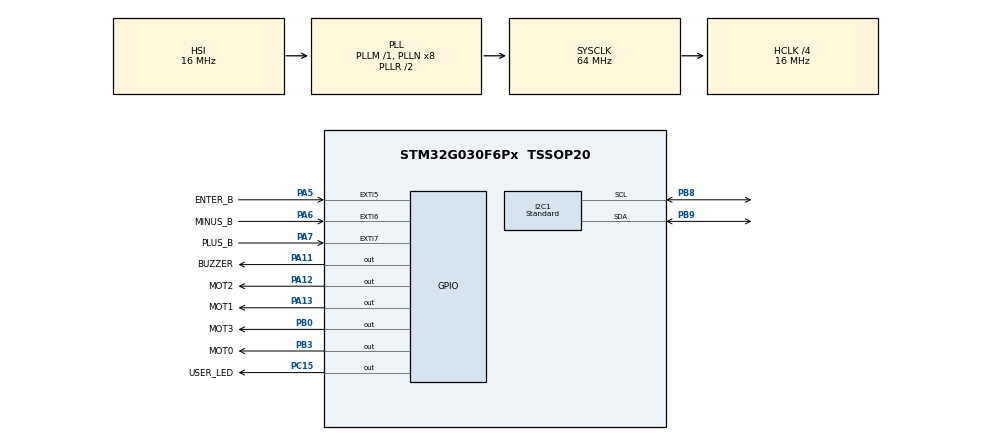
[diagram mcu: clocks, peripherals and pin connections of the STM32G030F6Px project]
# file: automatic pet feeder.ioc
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I2C1.I2C_Speed_Mode=I2C_Standard
Mcu.Family=STM32G0
Mcu.Name=STM32G030F6Px
Mcu.Package=TSSOP20
NVIC.EXTI4_15_IRQn=true\:0\:0\:false\:false\:true\:true\:true\:true
NVIC.TIM14_IRQn=true\:0\:0\:false\:false\:true\:true\:true\:true
PA11\ [PA9].GPIO_Label=BUZZER
PA11\ [PA9].Signal=GPIO_Output
PA12\ [PA10].GPIO_Label=MOT2
PA12\ [PA10].Signal=GPIO_Output
PA13.GPIO_Label=MOT1
PA13.Signal=GPIO_Output
PA14-BOOT0__PA15.StandardMode=true
PA5.GPIO_Label=ENTER_B
PA5.GPIO_ModeDefaultEXTI=GPIO_MODE_IT_RISING
PA5.GPIO_PuPd=GPIO_NOPULL
PA5.Signal=GPXTI5
PA6.GPIO_Label=MINUS_B
PA6.GPIO_ModeDefaultEXTI=GPIO_MODE_IT_RISING
PA6.GPIO_PuPd=GPIO_NOPULL
PA6.Signal=GPXTI6
PA7.GPIO_Label=PLUS_B
PA7.GPIO_ModeDefaultEXTI=GPIO_MODE_IT_RISING
PA7.GPIO_PuPd=GPIO_NOPULL
PA7.Signal=GPXTI7
PB0.GPIO_Label=MOT3
PB0.Signal=GPIO_Output
PB0__PB1__PB2__PA8.StandardMode=true
PB3.GPIO_Label=MOT0
PB3.Signal=GPIO_Output
PB3__PB4__PB5__PB6.StandardMode=true
PB7__PB8.StandardMode=true
PB8.Mode=I2C
PB8.Signal=I2C1_SCL
PB9.Mode=I2C
PB9.Signal=I2C1_SDA
PC14-OSC32_IN\ (PC14)__PB9.StandardMode=true
PC15-OSC32_OUT\ (PC15).GPIO_Label=USER_LED
PC15-OSC32_OUT\ (PC15).Signal=GPIO_Output
ProjectManager.HeapSize=0x200
ProjectManager.StackSize=0x400
ProjectManager.TargetToolchain=STM32CubeIDE
RCC.ADCFreq_Value=64000000
RCC.AHBCLKDivider=RCC_SYSCLK_DIV4
RCC.AHBFreq_Value=16000000
RCC.CortexFreq_Value=16000000
RCC.EXTERNAL_CLOCK_VALUE=12288000
RCC.HCLKFreq_Value=16000000
RCC.HSE_VALUE=8000000
RCC.HSI_VALUE=16000000
RCC.LSE_VALUE=32768
RCC.SYSCLKFreq_VALUE=64000000
RCC.SYSCLKSource=RCC_SYSCLKSOURCE_PLLCLK
RCC.VCOOutputFreq_Value=128000000
TIM14.Period=5000-1
TIM14.Prescaler=1600-1
VP_TIM14_VS_ClockSourceINT.Mode=Enable_Timer
board=custom

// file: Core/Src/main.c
/* USER CODE BEGIN Header */
/**
 ******************************************************************************
 * @file           : main.c
 * @brief          : Main program body
 ******************************************************************************
 * @attention
 *
 * Copyright (c) 2022 STMicroelectronics.
 * All rights reserved.
 *
 * This software is licensed under terms that can be found in the LICENSE file
 * in the root directory of this software component.
 * If no LICENSE file comes with this software, it is provided AS-IS.
 *
 ******************************************************************************
 */
/* USER CODE END Header */
#include "main.h"

/* USER CODE BEGIN Includes */
#include "ssd1306.h"
#include "bitmap.h"
#include "DS3231lib.h"
#include "EEPROM.h"
#include "storeSettings.h"
#include "motor.h"
/* USER CODE END Includes */

/* USER CODE BEGIN PTD */
#define TIME_STBY 10		//tempo in s per lo standby dello schermo (riduce lumnosità)
#define CONTRAST_STBY 5	//contrasto quando lo schermo va in standby
/* USER CODE END PTD */

I2C_HandleTypeDef hi2c1;

TIM_HandleTypeDef htim14;

/* USER CODE BEGIN PV */
//variabili per controllo tempo senza delay
uint32_t buzT;			//tempo buzzer in millisecondi
uint32_t contrastT;	//tempo contrasto per riduzione della luminosità dopo tot tempo senza premere qualche pulsanto
//variabili generali
uint8_t buz = 0;		//attiva disattiva buzzer
uint8_t feed = 0;//flag che segna se è da dare una porzione o meno: 0 no, altrimenti numero porzioni da dare
uint8_t status = 1;		//attiva o disattiva il dispositivo
uint8_t color = 1;		//colore per lampeggio per selezione
//variabili menu
uint8_t menu = 0;		//menu visualizzazione attivo
uint8_t lineSel = 0;//indica la linea selezionata, se 0 vuol dire torna a menu principale (per i menu: settings, meal settings, type settings)
uint8_t timeSel = 0;//0 se non da modificare, 1 se ora selezionata, 2 se minuti selezionati
uint8_t qtySel = 0;	//0 se non da modificare, 1 se da modificare
//variabili tempo
TIME time;			//variabile che tiene traccia del tempo reale
TIME timetoset;		//ora da impostare
uint8_t setTime = 0;	//se a 1 bisogna impostare il l'ora
//variabili tipi pasto
uint8_t breakfast;	//quantità pasto colazione
uint8_t lunch;		//quantità pasto pranzo
uint8_t dinner;		//quantità pasto cena
uint8_t pastoDaServ = 0;		//0 nessuno, 1 m1, 2 m2, 3 m3
uint8_t storeSet = 0;	//se 1 bisogna salvare nella eeprom le impostazioni

//creazione dei 3 pasti
Meal m1;
Meal m2;
Meal m3;
/* USER CODE END PV */

void SystemClock_Config(void);
static void MX_GPIO_Init(void);
static void MX_I2C1_Init(void);
static void MX_TIM14_Init(void);

int main(void)
{

  /* MCU Configuration--------------------------------------------------------*/

  /* Reset of all peripherals, Initializes the Flash interface and the Systick. */
  HAL_Init();

  /* Configure the system clock */
  SystemClock_Config();

  /* Initialize all configured peripherals */
  MX_GPIO_Init();
  MX_I2C1_Init();
  MX_TIM14_Init();
  /* USER CODE BEGIN 2 */
	ssd1306_Init();				//inizializzo il display
	//HAL_TIM_PWM_Init(&htim1);	//inizializzo il pwm per il buzzer
	//TIM1->CCR4 = 0;				//imposto il duty a 1%
	HAL_TIM_Base_Start_IT(&htim14);

	//reset del contrasto
	contrastT = HAL_GetTick() + TIME_STBY * 1000;

	//set del tempo da impostare
	timetoset = Get_Time(&hi2c1);

	//caricamento dalla memoria eeprom delle impostazioni

	//recupero dei 3 pasti dalla eeprom
	getSettings(&m1, &m2, &m3, &breakfast, &lunch, &dinner);//recuoera le impostazioni salvate nella eeprom

  /* USER CODE END 2 */

  /* Infinite loop */
	while (1) {

    /* USER CODE BEGIN 3 */
		if (setTime == 1) {
			Set_Time(timetoset.seconds, timetoset.minutes, timetoset.hour, 1, 1,
					1, 2023, &hi2c1);
			ssd1306_Fill(0);
			ssd1306_SetCursor(9, 23);
			ssd1306_WriteString("TIME SAVED", Font_11x18, 1);
			ssd1306_UpdateScreen();
			HAL_Delay(500);
			setTime = 0;
		}

		if (storeSet == 1) {
			storeSettings(m1, m2, m3, breakfast, lunch, dinner);// salva tutte le impostazioni nella memoria eeprom
			ssd1306_Fill(0);
			ssd1306_SetCursor(4, 23);
			ssd1306_WriteString("SETT.STORED", Font_11x18, 1);
			ssd1306_UpdateScreen();
			HAL_Delay(500);
			storeSet = 0;
		}

		HAL_GPIO_TogglePin(USER_LED_GPIO_Port, USER_LED_Pin);
		if (menu != 5) {
			time = Get_Time(&hi2c1);
		}

		//spegnimento buzzer dopo averlo acceso nella ISR del bottone
		if (buz == 1 && (buzT <= HAL_GetTick())) {
			//HAL_TIM_PWM_Stop(&htim1, TIM_CHANNEL_4);
			//TIM1->CCR4 = 0;
		}

		//controllo menu da visuallizzare
		switch (menu) {
		case 0:
			menuStart();	//menu avvio
			//ssd1306_UpdateScreen();
			break;
		case 1:
			menuMain();		//menu principale
			//ssd1306_UpdateScreen();
			break;
		case 2:
			menuSettings();		//menu impostazioni
			//ssd1306_UpdateScreen();
			break;
		case 3:
			menuSetMeal();		//menu impostazioni meal
			//ssd1306_UpdateScreen();
			break;
		case 4:
			menuSetType();		//menu impostazioni type
			//ssd1306_UpdateScreen();
			break;
		case 5:
			menuSetTime();		//menu impostazioni time
			//ssd1306_UpdateScreen();
			break;
		}
		//aggiorno il display
		ssd1306_UpdateScreen();

		//controlla se bisogna dare da mangiare. Se mealCheck ritorna 0 vol dire che non c'è da servire niente, altrimenti ritorna il tipo
		if (status == 1 && menu != 5) {
			if(feed != 0){
				ssd1306_SetContrast(255);
				contrastT = HAL_GetTick() + TIME_STBY * 1000;
				//HAL_TIM_PWM_Stop(&htim1, TIM_CHANNEL_4);
				printFeeding();
				feed = quatrerTurn(feed);
			}
			switch (mealCheck()) {	//controlla le impostazioni e le estrae.
			case 1:
				feed = 2 * breakfast;
				ssd1306_SetContrast(255);
				contrastT = HAL_GetTick() + TIME_STBY * 1000;
				printFeeding();
				feed = quatrerTurn(feed);
				break;
			case 2:
				feed = 2 * lunch;
				ssd1306_SetContrast(255);
				contrastT = HAL_GetTick() + TIME_STBY * 1000;
				printFeeding();
				feed = quatrerTurn(feed);
				break;
			case 3:
				feed = 2 * dinner;
				ssd1306_SetContrast(255);
				contrastT = HAL_GetTick() + TIME_STBY * 1000;
				printFeeding();
				feed = quatrerTurn(feed);
				break;
			}
		}

		//quando è mezza notte resetto tutti gli stati dei pasti
		if (time.hour == 0 && time.minutes == 0 && time.seconds == 0) {	//quando arriva mezza notte resetta lo stato di ogni pasto
			m1.done = 0;
			m2.done = 0;
			m3.done = 0;
		}

		//diminuizione e aumento contrasto display dopo inutilizzo e prima dei pasti
		if (contrastT <= HAL_GetTick()) {
			ssd1306_SetContrast(CONTRAST_STBY);
		} else {
			ssd1306_SetContrast(255);
		}

	}
  /* USER CODE END 3 */
}

void SystemClock_Config(void)
{
  RCC_OscInitTypeDef RCC_OscInitStruct = {0};
  RCC_ClkInitTypeDef RCC_ClkInitStruct = {0};

  /** Configure the main internal regulator output voltage
  */
  HAL_PWREx_ControlVoltageScaling(PWR_REGULATOR_VOLTAGE_SCALE1);

  /** Initializes the RCC Oscillators according to the specified parameters
  * in the RCC_OscInitTypeDef structure.
  */
  RCC_OscInitStruct.OscillatorType = RCC_OSCILLATORTYPE_HSI;
  RCC_OscInitStruct.HSIState = RCC_HSI_ON;
  RCC_OscInitStruct.HSIDiv = RCC_HSI_DIV1;
  RCC_OscInitStruct.HSICalibrationValue = RCC_HSICALIBRATION_DEFAULT;
  RCC_OscInitStruct.PLL.PLLState = RCC_PLL_ON;
  RCC_OscInitStruct.PLL.PLLSource = RCC_PLLSOURCE_HSI;
  RCC_OscInitStruct.PLL.PLLM = RCC_PLLM_DIV1;
  RCC_OscInitStruct.PLL.PLLN = 8;
  RCC_OscInitStruct.PLL.PLLP = RCC_PLLP_DIV2;
  RCC_OscInitStruct.PLL.PLLR = RCC_PLLR_DIV2;
  if (HAL_RCC_OscConfig(&RCC_OscInitStruct) != HAL_OK)
  {
    Error_Handler();
  }

  /** Initializes the CPU, AHB and APB buses clocks
  */
  RCC_ClkInitStruct.ClockType = RCC_CLOCKTYPE_HCLK|RCC_CLOCKTYPE_SYSCLK
                              |RCC_CLOCKTYPE_PCLK1;
  RCC_ClkInitStruct.SYSCLKSource = RCC_SYSCLKSOURCE_PLLCLK;
  RCC_ClkInitStruct.AHBCLKDivider = RCC_SYSCLK_DIV4;
  RCC_ClkInitStruct.APB1CLKDivider = RCC_HCLK_DIV1;

  if (HAL_RCC_ClockConfig(&RCC_ClkInitStruct, FLASH_LATENCY_0) != HAL_OK)
  {
    Error_Handler();
  }
}

static void MX_I2C1_Init(void)
{

  hi2c1.Instance = I2C1;
  hi2c1.Init.Timing = 0x00303D5B;
  hi2c1.Init.OwnAddress1 = 0;
  hi2c1.Init.AddressingMode = I2C_ADDRESSINGMODE_7BIT;
  hi2c1.Init.DualAddressMode = I2C_DUALADDRESS_DISABLE;
  hi2c1.Init.OwnAddress2 = 0;
  hi2c1.Init.OwnAddress2Masks = I2C_OA2_NOMASK;
  hi2c1.Init.GeneralCallMode = I2C_GENERALCALL_DISABLE;
  hi2c1.Init.NoStretchMode = I2C_NOSTRETCH_DISABLE;
  if (HAL_I2C_Init(&hi2c1) != HAL_OK)
  {
    Error_Handler();
  }

  /** Configure Analogue filter
  */
  if (HAL_I2CEx_ConfigAnalogFilter(&hi2c1, I2C_ANALOGFILTER_ENABLE) != HAL_OK)
  {
    Error_Handler();
  }

  /** Configure Digital filter
  */
  if (HAL_I2CEx_ConfigDigitalFilter(&hi2c1, 0) != HAL_OK)
  {
    Error_Handler();
  }

}

static void MX_TIM14_Init(void)
{

  htim14.Instance = TIM14;
  htim14.Init.Prescaler = 1600-1;
  htim14.Init.CounterMode = TIM_COUNTERMODE_UP;
  htim14.Init.Period = 5000-1;
  htim14.Init.ClockDivision = TIM_CLOCKDIVISION_DIV1;
  htim14.Init.AutoReloadPreload = TIM_AUTORELOAD_PRELOAD_DISABLE;
  if (HAL_TIM_Base_Init(&htim14) != HAL_OK)
  {
    Error_Handler();
  }

}

static void MX_GPIO_Init(void)
{
  GPIO_InitTypeDef GPIO_InitStruct = {0};

  /* GPIO Ports Clock Enable */
  __HAL_RCC_GPIOB_CLK_ENABLE();
  __HAL_RCC_GPIOC_CLK_ENABLE();
  __HAL_RCC_GPIOA_CLK_ENABLE();

  /*Configure GPIO pin Output Level */
  HAL_GPIO_WritePin(USER_LED_GPIO_Port, USER_LED_Pin, GPIO_PIN_RESET);

  /*Configure GPIO pin Output Level */
  HAL_GPIO_WritePin(GPIOB, MOT3_Pin|MOT0_Pin, GPIO_PIN_RESET);

  /*Configure GPIO pin Output Level */
  HAL_GPIO_WritePin(GPIOA, BUZZER_Pin|MOT2_Pin|MOT1_Pin, GPIO_PIN_RESET);

  /*Configure GPIO pin : USER_LED_Pin */
  GPIO_InitStruct.Pin = USER_LED_Pin;
  GPIO_InitStruct.Mode = GPIO_MODE_OUTPUT_PP;
  GPIO_InitStruct.Pull = GPIO_NOPULL;
  GPIO_InitStruct.Speed = GPIO_SPEED_FREQ_LOW;
  HAL_GPIO_Init(USER_LED_GPIO_Port, &GPIO_InitStruct);

  /*Configure GPIO pins : ENTER_B_Pin MINUS_B_Pin PLUS_B_Pin */
  GPIO_InitStruct.Pin = ENTER_B_Pin|MINUS_B_Pin|PLUS_B_Pin;
  GPIO_InitStruct.Mode = GPIO_MODE_IT_RISING;
  GPIO_InitStruct.Pull = GPIO_NOPULL;
  HAL_GPIO_Init(GPIOA, &GPIO_InitStruct);

  /*Configure GPIO pins : MOT3_Pin MOT0_Pin */
  GPIO_InitStruct.Pin = MOT3_Pin|MOT0_Pin;
  GPIO_InitStruct.Mode = GPIO_MODE_OUTPUT_PP;
  GPIO_InitStruct.Pull = GPIO_NOPULL;
  GPIO_InitStruct.Speed = GPIO_SPEED_FREQ_LOW;
  HAL_GPIO_Init(GPIOB, &GPIO_InitStruct);

  /*Configure GPIO pins : BUZZER_Pin MOT2_Pin MOT1_Pin */
  GPIO_InitStruct.Pin = BUZZER_Pin|MOT2_Pin|MOT1_Pin;
  GPIO_InitStruct.Mode = GPIO_MODE_OUTPUT_PP;
  GPIO_InitStruct.Pull = GPIO_NOPULL;
  GPIO_InitStruct.Speed = GPIO_SPEED_FREQ_LOW;
  HAL_GPIO_Init(GPIOA, &GPIO_InitStruct);

  /* EXTI interrupt init*/
  HAL_NVIC_SetPriority(EXTI4_15_IRQn, 0, 0);
  HAL_NVIC_EnableIRQ(EXTI4_15_IRQn);

}

/* USER CODE BEGIN 4 */
void menuSetTime() {
	//display
	//title
	ssd1306_Fill(0);
	ssd1306_SetCursor(0, 0);
	ssd1306_WriteString("TIME SETT.", Font_11x18, 1);
	//legenda
	ssd1306_SetCursor(3, 19);
	ssd1306_WriteString("      h  m", Font_7x10, 1);

	//tempo
	//scritta tempo
	ssd1306_SetCursor(0, 29);
	ssd1306_WriteString("time: ", Font_7x10, 1);
	//print ore
	if (timetoset.hour < 10) {
		if (lineSel == 1) {
			ssd1306_WriteChar('0', Font_7x10, color);
		} else {
			ssd1306_WriteChar('0', Font_7x10, 1);
		}
	}
	if (lineSel == 1) {
		PrintNumber(timetoset.hour, 2, color);
	} else {
		PrintNumber(timetoset.hour, 2, 1);
	}

	//print minuti
	ssd1306_WriteChar(':', Font_7x10, 1);
	if (timetoset.minutes < 10) {
		if (lineSel == 2) {
			ssd1306_WriteChar('0', Font_7x10, color);
		} else {
			ssd1306_WriteChar('0', Font_7x10, 1);
		}
	}
	if (lineSel == 2) {
		PrintNumber(timetoset.minutes, 2, color);
	} else {
		PrintNumber(timetoset.minutes, 2, 1);
	}
	/*
	 //print secondi
	 ssd1306_WriteChar(':', Font_7x10, 1);
	 if (time.seconds < 10) {
	 ssd1306_WriteChar('0', Font_7x10, 1);
	 }
	 PrintNumber(time.seconds, 2, 1);
	 */

	printGear(118, 54);
}
void menuSetType() {
	//display
	//title
	ssd1306_Fill(0);
	ssd1306_SetCursor(0, 0);
	ssd1306_WriteString("TYPE SETT.", Font_11x18, 1);
	//legenda
	ssd1306_SetCursor(0, 19);
	ssd1306_WriteString("TYPE    QTY 1-20", Font_7x10, 1);
	//tipo breakfast
	ssd1306_SetCursor(0, 29);
	if (qtySel == 0 && lineSel == 1) {//lampeggia se la quantità NON è da moficare e la linea è la prima
		ssd1306_WriteString("break", Font_7x10, color);
	} else {
		ssd1306_WriteString("break", Font_7x10, 1);
	}
	ssd1306_WriteString("      ", Font_7x10, 1);
	if (qtySel == 1 && lineSel == 1) {//lampeggia se la quantità è da moficare e la linea è la prima
		PrintNumber(breakfast, 2, color);
	} else {
		PrintNumber(breakfast, 2, 1);
	}
	//tipo lunch
	ssd1306_SetCursor(0, 39);
	if (qtySel == 0 && lineSel == 2) {//lampeggia se la quantità NON è da moficare e la linea è la prima
		ssd1306_WriteString("lunch", Font_7x10, color);
	} else {
		ssd1306_WriteString("lunch", Font_7x10, 1);
	}
	ssd1306_WriteString("      ", Font_7x10, 1);
	if (qtySel == 1 && lineSel == 2) {//lampeggia se la quantità è da moficare e la linea è la prima
		PrintNumber(lunch, 2, color);
	} else {
		PrintNumber(lunch, 2, 1);
	}
	//tipo dinner
	ssd1306_SetCursor(0, 49);
	if (qtySel == 0 && lineSel == 3) {//lampeggia se la quantità NON è da moficare e la linea è la prima
		ssd1306_WriteString("dinner", Font_7x10, color);
	} else {
		ssd1306_WriteString("dinner", Font_7x10, 1);
	}
	ssd1306_WriteString("     ", Font_7x10, 1);
	if (qtySel == 1 && lineSel == 3) {//lampeggia se la quantità è da moficare e la linea è la prima
		PrintNumber(dinner, 2, color);
	} else {
		PrintNumber(dinner, 2, 1);
	}

	printGear(118, 0);
}

void menuSetMeal() {
	//display
	//title
	ssd1306_Fill(0);
	ssd1306_SetCursor(0, 0);
	ssd1306_WriteString("MEAL SETT.", Font_11x18, 1);
	//legenda
	ssd1306_SetCursor(0, 19);
	ssd1306_WriteString("TYPE  ACTIVE  TIME", Font_7x10, 1);
	//pasti
	//m1
	ssd1306_SetCursor(0, 29);
	printMealType(m1, 1);
	printMealStatus(m1, 1);
	ssd1306_SetCursor(93, 29);
	printMealTime(m1, 1);

	//m2
	ssd1306_SetCursor(0, 39);
	printMealType(m2, 2);
	printMealStatus(m2, 2);
	ssd1306_SetCursor(93, 39);
	printMealTime(m2, 2);

	//m3
	ssd1306_SetCursor(0, 49);
	printMealType(m3, 3);
	printMealStatus(m3, 3);
	ssd1306_SetCursor(93, 49);
	printMealTime(m3, 3);

	printGear(118, 0);

	//disegno cursore
}

void menuSettings() {
	//display
	//title
	ssd1306_Fill(0);
	ssd1306_SetCursor(0, 0);
	ssd1306_WriteString("SETTINGS", Font_11x18, 1);
	//linea 1
	ssd1306_SetCursor(0, 19);
	ssd1306_WriteString("MEAL SET", Font_7x10, 1);
	//linea 2
	ssd1306_SetCursor(0, 29);
	ssd1306_WriteString("TYPE SET", Font_7x10, 1);
	//linea 3
	ssd1306_SetCursor(0, 39);
	ssd1306_WriteString("TIME SET", Font_7x10, 1);
	//linea 4
	ssd1306_SetCursor(0, 49);
	ssd1306_WriteString("ACTIVE?", Font_7x10, 1);//DA DECIDERE COME FARE LA DISATTIVAZIONE DEL DISPOSITIVO
	if (lineSel != 4) {
		if (status == 1) {
			ssd1306_DrawBitmap(60, 49, attivo, 10, 10, 1);
		} else {
			ssd1306_DrawBitmap(60, 49, nonAttivo, 10, 10, 1);
		}
	}

	//disegno cursore linea selezionata
	switch (lineSel) {
	case 1:
		ssd1306_SetCursor(60, 19);
		ssd1306_WriteChar('<', Font_7x10, 1);
		break;
	case 2:
		ssd1306_SetCursor(60, 29);
		ssd1306_WriteChar('<', Font_7x10, 1);
		break;
	case 3:
		ssd1306_SetCursor(60, 39);
		ssd1306_WriteChar('<', Font_7x10, 1);
		break;
	case 4:
		if (status == 1) {
			if (!color) {
				ssd1306_DrawBitmap(60, 49, attivo, 10, 10, 1);
			} else {
				ssd1306_DrawBitmap(60, 49, attivoInv, 10, 10, 1);
			}
		} else {
			if (!color) {
				ssd1306_DrawBitmap(60, 49, nonAttivo, 10, 10, 1);
			} else {
				ssd1306_DrawBitmap(60, 49, nonAttivoInv, 10, 10, 1);
			}
		}
		break;
	}
	printGear(118, 54);
}

void menuMain() {
	ssd1306_Fill(0);
	//write time
	ssd1306_Line(0, 50, 128, 50, 1);
	ssd1306_SetCursor(0, 54);
	printTime(time);
	//grafical thigs
	ssd1306_SetCursor(0, 0);
	ssd1306_WriteString("MEALS...", Font_11x18, 1);
	//settings button
	printGear(118, 54);

	//stampa tutti i pasti
	ssd1306_SetCursor(0, 19);
	printMealType(m1, 1);
	ssd1306_SetCursor(55, 19);
	printMealTime(m1, 1);
	ssd1306_SetCursor(0, 29);
	printMealType(m2, 2);
	ssd1306_SetCursor(55, 29);
	printMealTime(m2, 2);
	ssd1306_SetCursor(0, 39);
	printMealType(m3, 3);
	ssd1306_SetCursor(55, 39);
	printMealTime(m3, 3);
	/*	non va bene perchè c'è qualche bug sulla comparazione del tempo
	 //cancello quelli fatti
	 if (!(((m1.hour <= time.hour) && (m1.min <= time.minutes)))) {
	 //ssd1306_Line(0, 22, 100, 22, 1);
	 ssd1306_SetCursor(0, 19);
	 printMealType(m1, 1);
	 ssd1306_SetCursor(55, 19);
	 printMealTime(m1, 1);
	 } else {
	 m1.done = 1;
	 }

	 if (!(((m2.hour <= time.hour) && (m2.min <= time.minutes)))) {
	 //ssd1306_Line(0, 32, 100, 32, 1);
	 ssd1306_SetCursor(0, 29);
	 printMealType(m2, 2);
	 ssd1306_SetCursor(55, 29);
	 printMealTime(m2, 2);
	 } else {
	 m2.done = 1;
	 }

	 if (!(((m3.hour <= time.hour) && (m3.min <= time.minutes)))) {
	 //ssd1306_Line(0, 42, 100, 42, 1);
	 ssd1306_SetCursor(0, 39);
	 printMealType(m3, 3);
	 ssd1306_SetCursor(55, 39);
	 printMealTime(m3, 3);
	 } else {
	 m2.done = 1;
	 }
	 */
	if (m1.done != 0) {
		ssd1306_Line(0, 22, 100, 22, 1);
	}
	if (m2.done != 0) {
		ssd1306_Line(0, 32, 100, 32, 1);
	}
	if (m3.done != 0) {
		ssd1306_Line(0, 42, 100, 42, 1);
	}

	//entra in sleep mode
//	HAL_SuspendTick();
//	HAL_PWR_EnterSLEEPMode(PWR_MAINREGULATOR_ON, PWR_SLEEPENTRY_WFI);
}

void menuStart() {
	ssd1306_SetCursor(45, 18);
	ssd1306_WriteString("PET", Font_11x18, 1);
	ssd1306_SetCursor(31, 37);
	ssd1306_WriteString("FEEDER", Font_11x18, 1);
	ssd1306_SetCursor(0, 0);
	ssd1306_WriteString("made by Floppy Lab", Font_7x10, 1);
	ssd1306_UpdateScreen();
	HAL_Delay(2000);
	menu = 1;
}

void printTime(TIME T) {
	ssd1306_WriteString("time: ", Font_7x10, 1);
	//print ore
	if (T.hour < 10) {
		ssd1306_WriteChar('0', Font_7x10, 1);
	}
	PrintNumber(T.hour, 2, 1);

	//print minuti
	ssd1306_WriteChar(':', Font_7x10, 1);
	if (T.minutes < 10) {
		ssd1306_WriteChar('0', Font_7x10, 1);
	}
	PrintNumber(T.minutes, 2, 1);

	//print secondi
	ssd1306_WriteChar(':', Font_7x10, 1);
	if (T.seconds < 10) {
		ssd1306_WriteChar('0', Font_7x10, 1);
	}
	PrintNumber(T.seconds, 2, 1);

}

void printGear(uint8_t x, uint8_t y) {
	//disegno ingranaggio
	if (lineSel == 0 && color == 0) {
		ssd1306_DrawBitmap(x, y, ingranaggioInv, 10, 10, 1);
	} else {
		ssd1306_DrawBitmap(x, y, ingranaggio, 10, 10, 1);
	}
}

void printMealType(Meal m, uint8_t mealN) {
	uint8_t c;
	if (lineSel == mealN) {
		c = color;
	} else {
		c = 1;
	}
	switch (m.type) {
	case 0:
		ssd1306_WriteString("-----", Font_7x10, c);
		break;
	case 1:
		ssd1306_WriteString("break", Font_7x10, c);
		break;
	case 2:
		ssd1306_WriteString("lunch", Font_7x10, c);
		break;
	case 3:
		ssd1306_WriteString("dinner", Font_7x10, c);
		break;
	}
}

void printMealStatus(Meal m, uint8_t mealN) {
	if (m.type != 0) {
		if (lineSel == mealN + 3 && !color) {
			ssd1306_DrawBitmap(59, 29 + (mealN - 1) * 10, attivoInv, 10, 10, 1);
		} else {
			ssd1306_DrawBitmap(59, 29 + (mealN - 1) * 10, attivo, 10, 10, 1);
		}
	} else {
		if (lineSel == mealN + 3 && !color) {
			ssd1306_DrawBitmap(59, 29 + (mealN - 1) * 10, nonAttivoInv, 10, 10,
					1);
		} else {
			ssd1306_DrawBitmap(59, 29 + (mealN - 1) * 10, nonAttivo, 10, 10, 1);
		}
	}
}

void printMealTime(Meal m, uint8_t mealN) {
	if (timeSel == 0 && lineSel == mealN + 6) {
		//print ore
		if (m.hour < 10) {
			ssd1306_WriteChar('0', Font_7x10, color);
		}
		PrintNumber(m.hour, 2, color);

		//print minuti
		ssd1306_WriteChar(':', Font_7x10, color);
		if (m.min < 10) {
			ssd1306_WriteChar('0', Font_7x10, color);
		}
		PrintNumber(m.min, 2, color);
	} else {
		//print ore
		if (m.hour < 10) {
			if (!(timeSel == 1 && lineSel == mealN + 6 && !color)) {
				ssd1306_WriteChar('0', Font_7x10, 1);
			} else {
				ssd1306_WriteChar('0', Font_7x10, 0);
			}
		}
		if (!(timeSel == 1 && lineSel == mealN + 6 && !color)) {
			PrintNumber(m.hour, 2, 1);
		} else {
			PrintNumber(m.hour, 2, 0);
		}

		ssd1306_WriteChar(':', Font_7x10, 1);

		//print minuti
		if (m.min < 10) {
			if (!(timeSel == 2 && lineSel == mealN + 6 && !color)) {
				ssd1306_WriteChar('0', Font_7x10, 1);
			} else {
				ssd1306_WriteChar('0', Font_7x10, 0);
			}
		}
		if (!(timeSel == 2 && lineSel == mealN + 6 && !color)) {
			PrintNumber(m.min, 2, 1);
		} else {
			PrintNumber(m.min, 2, 0);
		}
	}
}

uint8_t mealCheck() {	//aggiungere tanti if quanti i pasti 'meal'
	if (time.hour == m1.hour && time.minutes == m1.min && time.seconds == 0
			&& m1.done == 0) {
		pastoDaServ = 1;
		m1.done = 1;
		return m1.type;
	}
	if (time.hour == m2.hour && time.minutes == m2.min && time.seconds == 0
			&& m2.done == 0) {
		pastoDaServ = 2;
		m2.done = 1;
		return m2.type;
	}
	if (time.hour == m3.hour && time.minutes == m3.min && time.seconds == 0
			&& m3.done == 0) {
		pastoDaServ = 3;
		m3.done = 1;
		return m3.type;
	}
	return 0;//se viene ritornato 0 vuol dire che nessun pasto deve essere servito
}

void PrintNumber(int n, uint8_t cifre, uint8_t colore) {//numero da printare, cifre max numero, colore [0/1]
	char s[cifre + 1];
	itoa(n, s, 10); //converte int to string.  char* itoa(int value, char* str, int base);
	/*for (uint8_t i = 0; i < cifre; i++) {
	 ssd1306_WriteChar(' ', Font_7x10, 1);
	 }*/
	ssd1306_WriteString(s, Font_7x10, colore);
}

void HAL_TIM_PeriodElapsedCallback(TIM_HandleTypeDef *htim) {
	HAL_GPIO_TogglePin(USER_LED_GPIO_Port, USER_LED_Pin);
	if (htim == &htim14) {
		//aggiorno il colore del selezionato ogni mezzo secondo
		color = (color + 1) % 2;
	}
}

void HAL_GPIO_EXTI_Rising_Callback(uint16_t GPIO_Pin) {
//	HAL_ResumeTick();	//tolto per sleepmode
	if(feed !=0){
		return;
	}
	//PULSANTE ENTER/OK
	if (GPIO_Pin == ENTER_B_Pin) {
		contrastT = HAL_GetTick() + TIME_STBY * 1000;
		switch (menu) {		//controllo quale menu è attivo
		//menu principale attivo
		case 1:
			menu = 2;		//entra nel menu impostazioni
			lineSel = 1;	//imposta la prima linea selezionata
			break;
			//menu impostazioni attivo
		case 2:
			switch (lineSel) {	//controllo quale linea è selezionata
			case 0:
				menu = 1;//ritorna al menu principale se viene cliccato lingranaggio
				lineSel = 0;
				break;
			case 1:
				menu = 3;	//imposta il menu IMPOSTAZIONI MEAL
				lineSel = 1;
				break;
			case 2:
				menu = 4;	//imposta il menu IMPOSTAZIONI TYPE
				lineSel = 1;
				break;
			case 3:
				menu = 5;	//imposta il menu IMPOSTAZIONI TIME
				lineSel = 1;
				break;
			case 4:
				status = (status + 1) % 2;
				break;
			}
			break;
			//menu impostazioni meal attivo
		case 3:
			switch (lineSel) {	//controllo quale linea è selezionata
			case 0:
				storeSet = 1;
				menu = 2;//se sei sull'ingranaggio ritorna al menu precedente (menu impostazioni)
				break;
			case 1:	//scorre tra i vari tipi di pasto senza passare per lo 0 (pasto disattivato)
				if ((m1.type + 1) % 4 == 0) {
					m1.type = 1;
				} else {
					m1.type = (m1.type + 1) % 4;
				}

				break;
			case 2:	//scorre tra i vari tipi di pasto senza passare per lo 0 (pasto disattivato)
				if ((m2.type + 1) % 4 == 0) {
					m2.type = 1;
				} else {
					m2.type = (m2.type + 1) % 4;
				}

				break;
			case 3:	//scorre tra i vari tipi di pasto senza passare per lo 0 (pasto disattivato)
				if ((m3.type + 1) % 4 == 0) {
					m3.type = 1;
				} else {
					m3.type = (m3.type + 1) % 4;
				}
				break;
			case 4:	//scorre tra i vari tipi di pasto senza passare per lo 0 (pasto disattivato)
				if (m1.type != 0) {
					m1.type = 0;
				} else {
					m1.type = (m1.type + 1) % 2;
				}
				break;
			case 5:	//scorre tra i vari tipi di pasto senza passare per lo 0 (pasto disattivato)
				if (m2.type != 0) {
					m2.type = 0;
				} else {
					m2.type = (m2.type + 1) % 2;
				}
				break;
			case 6:	//scorre tra i vari tipi di pasto senza passare per lo 0 (pasto disattivato)
				if (m3.type != 0) {
					m3.type = 0;
				} else {
					m3.type = (m3.type + 1) % 2;
				}
				break;
			case 7:		//sleziona l'ora da impostare se minuti o ore
				timeSel = (timeSel + 1) % 3;
				break;
			case 8:		//sleziona l'ora da impostare se minuti o ore
				timeSel = (timeSel + 1) % 3;
				break;
			case 9:		//sleziona l'ora da impostare se minuti o ore
				timeSel = (timeSel + 1) % 3;
				break;
			}
			break;
			//menu impostazioni type attivo
		case 4:
			switch (lineSel) {
			case 0:
				storeSet = 1;
				menu = 2;// torna al menu impostazioni se premuto l'ingranaggio
				break;
			case 1:
				qtySel = (qtySel + 1) % 2;//seleziona o no la quantità da modificare
				break;
			case 2:
				qtySel = (qtySel + 1) % 2;//seleziona o no la quantità da modificare
				break;
			case 3:
				qtySel = (qtySel + 1) % 2;//seleziona o no la quantità da modificare
				break;
			}
			break;
			//menu impostazioni tempo
		case 5:
			switch (lineSel) {
			case 0:
				timetoset.seconds = 0;
				setTime = 1;
				menu = 2;
				lineSel = 0;
				m1.done = 0;
				m2.done = 0;
				m3.done = 0;
				break;
			case 1:
				lineSel = (lineSel + 1) % 3;
				break;
			case 2:
				lineSel = (lineSel + 1) % 3;
				break;
			}
			break;
		}
	}

	//PULSANTE +
	if (GPIO_Pin == PLUS_B_Pin) {
		contrastT = HAL_GetTick() + TIME_STBY * 1000;
		switch (menu) {		//controllo quale menu è attivo
		//menu principale
		case 1:
			feed = feed + 2;		//aggiunge una porzione
			break;
			//menu impostazioni
		case 2:
			if (lineSel == 0) {
				lineSel = 4;
			} else {
				lineSel--;
			}
			break;
			//menu meal set
		case 3:
			if (timeSel == 0) {
				if (lineSel == 0) {
					lineSel = 9;
				} else {
					lineSel--;
				}
			}
			switch (timeSel) {
			case 1:
				switch (lineSel) {
				case 7:
					m1.hour = (m1.hour + 1) % 24;
					break;
				case 8:
					m2.hour = (m2.hour + 1) % 24;
					break;
				case 9:
					m3.hour = (m3.hour + 1) % 24;
					break;
				}
				break;
			case 2:
				switch (lineSel) {
				case 7:
					m1.min = (m1.min + 5) % 60;
					break;
				case 8:
					m2.min = (m2.min + 5) % 60;
					break;
				case 9:
					m3.min = (m3.min + 5) % 60;
					break;
				}
				break;
			}
			break;
			//menu type set
		case 4:
			if (qtySel != 1) {
				if (lineSel == 0) {
					lineSel = 3;
				} else {
					lineSel = lineSel - 1;
				}
			} else {
				switch (lineSel) {
				case 1:
					if (breakfast < 20) {
						breakfast = breakfast + 1;
					}
					break;
				case 2:
					if (lunch < 20) {
						lunch = lunch + 1;
					}
					break;
				case 3:
					if (dinner < 20) {
						dinner = dinner + 1;
					}
					break;
				}
			}
			break;
			//menu time set
		case 5:
			switch (lineSel) {
			case 1:
				timetoset.hour = (timetoset.hour + 1) % 24;
				break;
			case 2:
				timetoset.minutes = (timetoset.minutes + 1) % 60;
				break;
			}
			break;
		}
	}

//PULSANTE -
	if (GPIO_Pin == MINUS_B_Pin) {
		contrastT = HAL_GetTick() + TIME_STBY * 1000;
		switch (menu) {		//controllo quale menu è attivo
		//menu principale
		case 1:
			break;
			//menu impostazioni
		case 2:
			lineSel = (lineSel + 1) % 5;
			break;
			//menu meal set
		case 3:
			if (timeSel == 0) {
				lineSel = (lineSel + 1) % 10;
			}
			switch (timeSel) {
			case 1:
				switch (lineSel) {
				case 7:
					if (m1.hour == 0) {
						m1.hour = 23;
					} else {
						m1.hour = (m1.hour - 1);
					}
					break;
				case 8:
					if (m2.hour == 0) {
						m2.hour = 23;
					} else {
						m2.hour = (m2.hour - 1);
					}
					break;
				case 9:
					if (m3.hour == 0) {
						m3.hour = 23;
					} else {
						m3.hour = (m3.hour - 1);
					}
					break;
				}
				break;
			case 2:
				switch (lineSel) {
				case 7:
					if (m1.min == 0) {
						m1.min = 55;
					} else {
						m1.min = (m1.min - 5);
					}
					break;
				case 8:
					if (m2.min == 0) {
						m2.min = 55;
					} else {
						m2.min = (m2.min - 5);
					}
					break;
				case 9:
					if (m3.min == 0) {
						m3.min = 55;
					} else {
						m3.min = (m3.min - 5);
					}
					break;
				}
				break;
			}
			break;
			//menu type set
		case 4:
			if (qtySel != 1) {
				lineSel = (lineSel + 1) % 4;
			} else {
				switch (lineSel) {
				case 1:
					if (breakfast > 0) {
						breakfast = breakfast - 1;
					}
					break;
				case 2:
					if (lunch > 0) {
						lunch = lunch - 1;
					}
					break;
				case 3:
					if (dinner > 0) {
						dinner = dinner - 1;
					}
					break;
				}
			}
			break;
			//menu time set
		case 5:
			switch (lineSel) {
			case 1:
				if (timetoset.hour == 0) {
					timetoset.hour = 23;
				} else {
					timetoset.hour = timetoset.hour - 1;
				}
				break;
			case 2:
				if (timetoset.minutes == 0) {
					timetoset.minutes = 59;
				} else {
					timetoset.minutes = timetoset.minutes - 1;
				}
				break;
			}
			break;
		}

	}

		buz = 1;
		buzT = HAL_GetTick() + 10;
		//TIM1->CCR4 = 5;
		//HAL_TIM_PWM_Start(&htim1, TIM_CHANNEL_4);

//HAL_GPIO_TogglePin(USER_LED_GPIO_Port, USER_LED_Pin);
//HAL_GPIO_TogglePin(MOTOR_GPIO_Port, MOTOR_Pin);
}
/* USER CODE END 4 */

void Error_Handler(void)
{
	__disable_irq();
	while (1) {
	}
}
